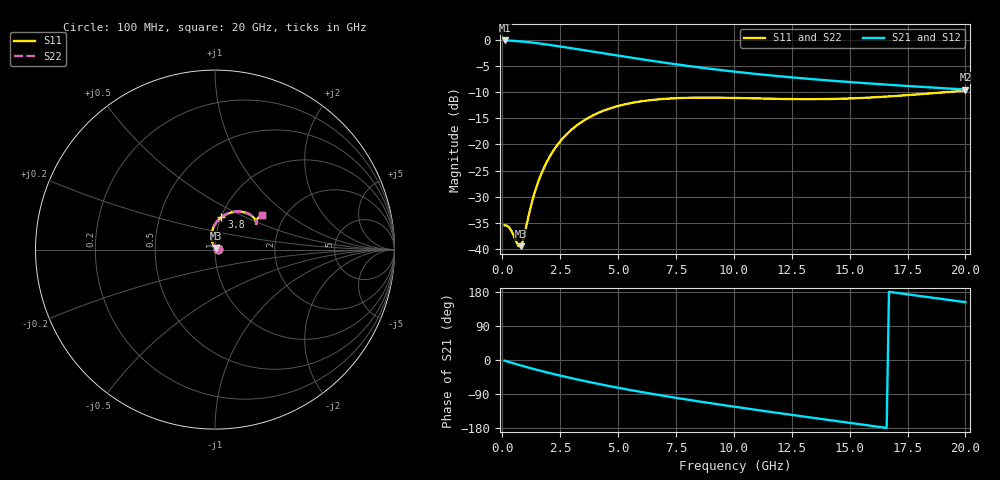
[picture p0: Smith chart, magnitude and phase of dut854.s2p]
! Touchstone file exported from HFSS 2024.1.0
!  File:  C:/UserFiles/LocalFiles/RDL_TSV_Batchsim/temp_RDL_TSV_854_1779923809.aedt
!  Generated:  07:31:37 AM May 28, 2026
!  Design:  RDL_TSV
!  Project:  temp_RDL_TSV_854_1779923809
!  Setup:  Setup1
!  Solution:  Sweep
! Variables:
!  dtsv = 12.11um
!  hbump = 3um
!  htsv = 75.43um
!  ldown = 611.58um
!  lrdl = 249.4um
!  p = 40
!  p1 = 46.81um
!  rhole = 10um
!  subl = 2832.34um
!  t = 450um
!  tdown = 3.7um
!  trdl = 3.88um
!  viad = 10um
!  wdown = 20.12um
!  wrdl = 11.48um
!  xbump = 18um
# GHz S MA R 50.000000
! Terminal data exported
! Port[1] = TM1_1_T1
! Port[2] = TM1_4_T1
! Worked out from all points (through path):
!   200 points, 100 MHz to 20 GHz, reference 50 ohm
!   highest |S21| = -0.15 dB at 100 MHz (marker M1); lowest = -9.5 dB at 20 GHz (marker M2)
!   group delay of S21, straight-line fit = 27.1 ps
!   lowest |S11| = -39.5 dB at 800 MHz (marker M3), VSWR 1.02, Z = 50.5 + j0.935 ohm
!   |S11| at or under -10 dB: start of sweep to 19.25 GHz
!   |S22| runs from -39.5 to -9.7 dB; largest |S21 - S12| = 2.5e-14
!   S11 on the Smith chart (normalised r, x): 100 MHz: 1.03, +0.00; 3.8 GHz: 1.00, +0.37; 20 GHz: 1.54, +0.66
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0.1  0.01686 3.5  0.9826 -1.9  0.9826 -1.9  0.01686 3.5
! Gamma 0 0 0 0
! Port Impedance 50 0 50 0
0.3  0.01606 8.2  0.9792 -5.5  0.9792 -5.5  0.01606 8.2
0.7  0.01066 41.3  0.9666 -12.7  0.9666 -12.7  0.01065 41.4
0.8  0.01065 60.3  0.9625 -14.4  0.9625 -14.4  0.01064 60.6
0.9  0.0122 78.7  0.958 -16.1  0.958 -16.1  0.01221 79.0
1.2  0.02392 105.5  0.9427 -21.2  0.9427 -21.2  0.02398 105.6
1.4  0.03478 109.5  0.9313 -24.5  0.9313 -24.5  0.03488 109.6
1.6  0.04687 109.7  0.9192 -27.7  0.9192 -27.7  0.04701 109.8
1.9  0.06633 107.1  0.9002 -32.3  0.9002 -32.3  0.06653 107.2
2.2  0.08647 103.0  0.8806 -36.8  0.8806 -36.8  0.08673 103.1
2.6  0.1132 96.8  0.8541 -42.6  0.8541 -42.6  0.1135 96.9
3  0.1387 90.5  0.8277 -48.2  0.8277 -48.2  0.1391 90.6
3.5  0.1677 83.0  0.7953 -54.8  0.7953 -54.8  0.1683 83.1
3.8  0.1834 78.8  0.7762 -58.7  0.7762 -58.7  0.1841 78.9
5.1  0.2354 63.1  0.6986 -74.4  0.6986 -74.4  0.2364 63.2
6.8  0.2699 48.4  0.612 -92.8  0.612 -92.8  0.2711 48.5
8.4  0.2794 39.4  0.5469 -108.5  0.5469 -108.5  0.2809 39.5
10.1  0.2774 33.9  0.4928 -124.0  0.4928 -124.0  0.279 34.0
11.7  0.2723 32.0  0.453 -138.0  0.453 -138.0  0.274 32.0
13.4  0.27 32.3  0.4194 -152.5  0.4194 -152.5  0.2716 32.2
16.7  0.2868 35.6  0.3705 179.9  0.3705 179.9  0.2883 35.5
20  0.3258 36.2  0.3341 152.6  0.3341 152.6  0.327 36.1
